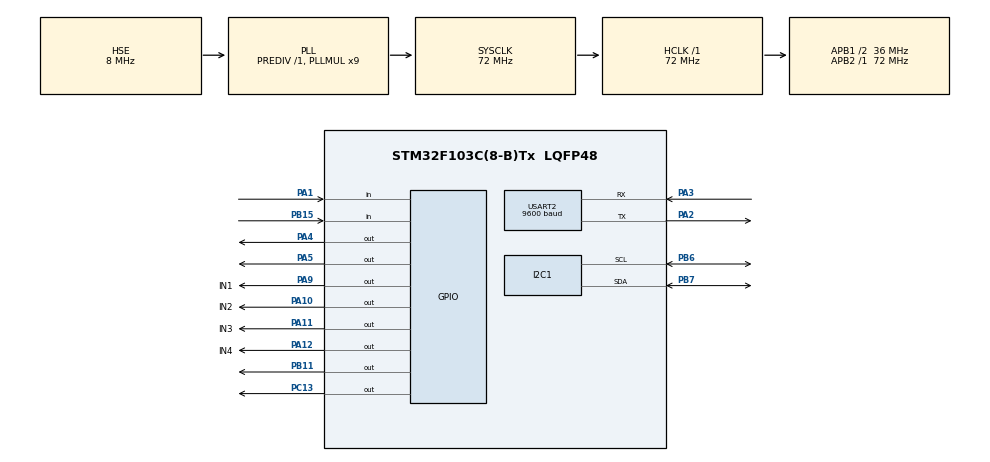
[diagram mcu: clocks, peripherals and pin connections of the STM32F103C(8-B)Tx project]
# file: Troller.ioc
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FREERTOS.Tasks01=ChassisTask,24,128,ChassisTask_callback,Default,NULL,Dynamic,NULL,NULL;GimbalTask,8,128,GimbalTask_callback,Default,NULL,Dynamic,NULL,NULL;BluetoothTask,8,128,BluetoothTask_callback,Default,NULL,Dynamic,NULL,NULL
Mcu.Family=STM32F1
Mcu.Name=STM32F103C(8-B)Tx
Mcu.Package=LQFP48
NVIC.PriorityGroup=NVIC_PRIORITYGROUP_4
NVIC.TIM1_UP_IRQn=true\:15\:0\:false\:false\:true\:false\:false\:true\:true
NVIC.TimeBase=TIM1_UP_IRQn
NVIC.TimeBaseIP=TIM1
NVIC.USART2_IRQn=true\:5\:0\:false\:false\:true\:true\:true\:true\:true
PA1.GPIO_PuPd=GPIO_PULLDOWN
PA1.Signal=GPIO_Input
PA10.GPIO_Label=IN2
PA10.GPIO_Speed=GPIO_SPEED_FREQ_HIGH
PA10.Signal=GPIO_Output
PA11.GPIO_Label=IN3
PA11.GPIO_Speed=GPIO_SPEED_FREQ_HIGH
PA11.Signal=GPIO_Output
PA12.GPIO_Label=IN4
PA12.GPIO_Speed=GPIO_SPEED_FREQ_HIGH
PA12.Signal=GPIO_Output
PA13.Mode=Serial_Wire
PA13.Signal=SYS_JTMS-SWDIO
PA14.Mode=Serial_Wire
PA14.Signal=SYS_JTCK-SWCLK
PA2.Mode=Asynchronous
PA2.Signal=USART2_TX
PA3.Mode=Asynchronous
PA3.Signal=USART2_RX
PA4.GPIO_Speed=GPIO_SPEED_FREQ_HIGH
PA4.Signal=GPIO_Output
PA5.GPIO_Speed=GPIO_SPEED_FREQ_HIGH
PA5.PinState=GPIO_PIN_SET
PA5.Signal=GPIO_Output
PA9.GPIO_Label=IN1
PA9.GPIO_Speed=GPIO_SPEED_FREQ_HIGH
PA9.Signal=GPIO_Output
PB11.Signal=GPIO_Output
PB15.GPIO_PuPd=GPIO_PULLUP
PB15.Signal=GPIO_Input
PB6.Mode=I2C
PB6.Signal=I2C1_SCL
PB7.Mode=I2C
PB7.Signal=I2C1_SDA
PC13-TAMPER-RTC.Signal=GPIO_Output
PC14-OSC32_IN.Mode=LSE-External-Oscillator
PC14-OSC32_IN.Signal=RCC_OSC32_IN
PC15-OSC32_OUT.Mode=LSE-External-Oscillator
PC15-OSC32_OUT.Signal=RCC_OSC32_OUT
PD0-OSC_IN.Mode=HSE-External-Oscillator
PD0-OSC_IN.Signal=RCC_OSC_IN
PD1-OSC_OUT.Mode=HSE-External-Oscillator
PD1-OSC_OUT.Signal=RCC_OSC_OUT
ProjectManager.HeapSize=0x200
ProjectManager.StackSize=0x400
ProjectManager.TargetToolchain=MDK-ARM V5.32
RCC.AHBFreq_Value=72000000
RCC.APB1CLKDivider=RCC_HCLK_DIV2
RCC.APB1Freq_Value=36000000
RCC.APB1TimFreq_Value=72000000
RCC.APB2Freq_Value=72000000
RCC.APB2TimFreq_Value=72000000
RCC.HCLKFreq_Value=72000000
RCC.PLLMUL=RCC_PLL_MUL9
RCC.PLLSourceVirtual=RCC_PLLSOURCE_HSE
RCC.SYSCLKFreq_VALUE=72000000
RCC.SYSCLKSource=RCC_SYSCLKSOURCE_PLLCLK
RCC.USBFreq_Value=72000000
TIM2.Period=20000-1
TIM2.Prescaler=72-1
TIM3.Period=20000-1
TIM3.Prescaler=72-1
USART2.BaudRate=9600
USART2.VirtualMode=VM_ASYNC
VP_FREERTOS_VS_CMSIS_V2.Mode=CMSIS_V2
VP_SYS_VS_tim1.Mode=TIM1
VP_TIM2_VS_ClockSourceINT.Mode=Internal
VP_TIM3_VS_ClockSourceINT.Mode=Internal
board=custom

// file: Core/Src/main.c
/* USER CODE BEGIN Header */
/**
  ******************************************************************************
  * @file           : main.c
  * @brief          : Main program body
  ******************************************************************************
  * @attention
  *
  * Copyright (c) 2024 STMicroelectronics.
  * All rights reserved.
  *
  * This software is licensed under terms that can be found in the LICENSE file
  * in the root directory of this software component.
  * If no LICENSE file comes with this software, it is provided AS-IS.
  *
  ******************************************************************************
  */
/* USER CODE END Header */
#include "main.h"
#include "cmsis_os.h"
#include "i2c.h"
#include "tim.h"
#include "usart.h"
#include "gpio.h"

/* USER CODE BEGIN Includes */
#include "IR.h"
#include "OLED.h"
#include "HC-SR501.h"
#include "Beep.h"
#include "MQ2.h"
//#include "bluetooth.h"
//#include "global.h"

/* USER CODE END Includes */

void SystemClock_Config(void);
void MX_FREERTOS_Init(void);

/* USER CODE BEGIN 0 */
	//int8_t bluetooth_key = 0;
/* USER CODE END 0 */

int main(void)
{

  /* MCU Configuration--------------------------------------------------------*/

  /* Reset of all peripherals, Initializes the Flash interface and the Systick. */
  HAL_Init();

  /* Configure the system clock */
  SystemClock_Config();

  /* Initialize all configured peripherals */
  MX_GPIO_Init();
  MX_TIM2_Init();
  MX_TIM3_Init();
  MX_USART2_UART_Init();
  MX_I2C1_Init();
  /* USER CODE BEGIN 2 */
   OLED_init();
	 IR_Init();
	 BODY_HW_Init();
	 BEEP_Init();
	 MQ2_Init();
/*开启串口2的接收中断*/
	//HAL_UART_Receive_IT(&huart2,(uint8_t *)&USART2_NewData,1);
  /* USER CODE END 2 */

  /* Init scheduler */
  osKernelInitialize();

  /* Call init function for freertos objects (in cmsis_os2.c) */
  MX_FREERTOS_Init();

  /* Start scheduler */
  osKernelStart();

  /* We should never get here as control is now taken by the scheduler */

  /* Infinite loop */
  while (1)
  {

  }
}

void SystemClock_Config(void)
{
  RCC_OscInitTypeDef RCC_OscInitStruct = {0};
  RCC_ClkInitTypeDef RCC_ClkInitStruct = {0};

  /** Initializes the RCC Oscillators according to the specified parameters
  * in the RCC_OscInitTypeDef structure.
  */
  RCC_OscInitStruct.OscillatorType = RCC_OSCILLATORTYPE_HSE;
  RCC_OscInitStruct.HSEState = RCC_HSE_ON;
  RCC_OscInitStruct.HSEPredivValue = RCC_HSE_PREDIV_DIV1;
  RCC_OscInitStruct.HSIState = RCC_HSI_ON;
  RCC_OscInitStruct.PLL.PLLState = RCC_PLL_ON;
  RCC_OscInitStruct.PLL.PLLSource = RCC_PLLSOURCE_HSE;
  RCC_OscInitStruct.PLL.PLLMUL = RCC_PLL_MUL9;
  if (HAL_RCC_OscConfig(&RCC_OscInitStruct) != HAL_OK)
  {
    Error_Handler();
  }

  /** Initializes the CPU, AHB and APB buses clocks
  */
  RCC_ClkInitStruct.ClockType = RCC_CLOCKTYPE_HCLK|RCC_CLOCKTYPE_SYSCLK
                              |RCC_CLOCKTYPE_PCLK1|RCC_CLOCKTYPE_PCLK2;
  RCC_ClkInitStruct.SYSCLKSource = RCC_SYSCLKSOURCE_PLLCLK;
  RCC_ClkInitStruct.AHBCLKDivider = RCC_SYSCLK_DIV1;
  RCC_ClkInitStruct.APB1CLKDivider = RCC_HCLK_DIV2;
  RCC_ClkInitStruct.APB2CLKDivider = RCC_HCLK_DIV1;

  if (HAL_RCC_ClockConfig(&RCC_ClkInitStruct, FLASH_LATENCY_2) != HAL_OK)
  {
    Error_Handler();
  }
}

void HAL_TIM_PeriodElapsedCallback(TIM_HandleTypeDef *htim)
{
  if (htim->Instance == TIM1) {
    HAL_IncTick();
  }
}

void Error_Handler(void)
{
  __disable_irq();
  while (1)
  {
  }
}

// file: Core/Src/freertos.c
/* USER CODE BEGIN Header */
/**
  ******************************************************************************
  * File Name          : freertos.c
  * Description        : Code for freertos applications
  ******************************************************************************
  * @attention
  *
  * Copyright (c) 2024 STMicroelectronics.
  * All rights reserved.
  *
  * This software is licensed under terms that can be found in the LICENSE file
  * in the root directory of this software component.
  * If no LICENSE file comes with this software, it is provided AS-IS.
  *
  ******************************************************************************
  */
/* USER CODE END Header */

#include "FreeRTOS.h"
#include "task.h"
#include "main.h"
#include "cmsis_os.h"

/* USER CODE BEGIN Includes */
#include "global.h"
#include "OLED.h"
#include "IR.h"
#include "HC-SR501.h"
#include "Beep.h"
#include "MQ2.h"
/* USER CODE END Includes */

/* Definitions for ChassisTask */
osThreadId_t ChassisTaskHandle;
const osThreadAttr_t ChassisTask_attributes = {
  .name = "ChassisTask",
  .stack_size = 128 * 4,
  .priority = (osPriority_t) osPriorityNormal,
};
/* Definitions for GimbalTask */
osThreadId_t GimbalTaskHandle;
const osThreadAttr_t GimbalTask_attributes = {
  .name = "GimbalTask",
  .stack_size = 128 * 4,
  .priority = (osPriority_t) osPriorityLow,
};
/* Definitions for BluetoothTask */
osThreadId_t BluetoothTaskHandle;
const osThreadAttr_t BluetoothTask_attributes = {
  .name = "BluetoothTask",
  .stack_size = 128 * 4,
  .priority = (osPriority_t) osPriorityLow,
};

/* USER CODE BEGIN FunctionPrototypes */
uint16_t ir;
uint16_t mq2;
int value = 2;
/* USER CODE END FunctionPrototypes */

void ChassisTask_callback(void *argument);
void GimbalTask_callback(void *argument);
void BluetoothTask_callback(void *argument);

void MX_FREERTOS_Init(void); /* (MISRA C 2004 rule 8.1) */

void MX_FREERTOS_Init(void) {

  /* Create the thread(s) */
  /* creation of ChassisTask */
  ChassisTaskHandle = osThreadNew(ChassisTask_callback, NULL, &ChassisTask_attributes);

  /* creation of GimbalTask */
  GimbalTaskHandle = osThreadNew(GimbalTask_callback, NULL, &GimbalTask_attributes);

  /* creation of BluetoothTask */
  BluetoothTaskHandle = osThreadNew(BluetoothTask_callback, NULL, &BluetoothTask_attributes);

}

//温湿度控制
void ChassisTask_callback(void *argument)
{
  /* USER CODE BEGIN ChassisTask_callback */
  /* Infinite loop */
  for(;;)
  {

	      OLED_refresh_gram();
    osDelay(1);
  }
  /* USER CODE END ChassisTask_callback */
}

//烟雾传感器
void GimbalTask_callback(void *argument)
{
  /* USER CODE BEGIN GimbalTask_callback */
  /* Infinite loop */
  for(;;)
  {
		ir = IR_FireData();
		mq2 = MQ2_GetData();
		if(ir == 0)
		{
			OLED_printf(0,0,"normal");
			BEEP_OFF();
		}
		else
		{
			OLED_printf(0,0,"warning");
			BEEP_ON();
		}

		OLED_printf(4,0,"mq2:%df",mq2);

    osDelay(1);
  }
  /* USER CODE END GimbalTask_callback */
}

//紫外线灯
void BluetoothTask_callback(void *argument)
{
  /* USER CODE BEGIN BluetoothTask_callback */
  /* Infinite loop */
  for(;;)
  {
		value = BODY_HW_GetData();
	  if (value == 1)  // 检测到人体
    {
        OLED_printf(0,2,"people");
			 HAL_GPIO_WritePin(GPIOC,GPIO_PIN_13,GPIO_PIN_RESET);
    }
    else
    {
       OLED_printf(0,2,"none");
			 HAL_GPIO_WritePin(GPIOC,GPIO_PIN_13,GPIO_PIN_RESET);
    }
    osDelay(1);
  }
  /* USER CODE END BluetoothTask_callback */
}
